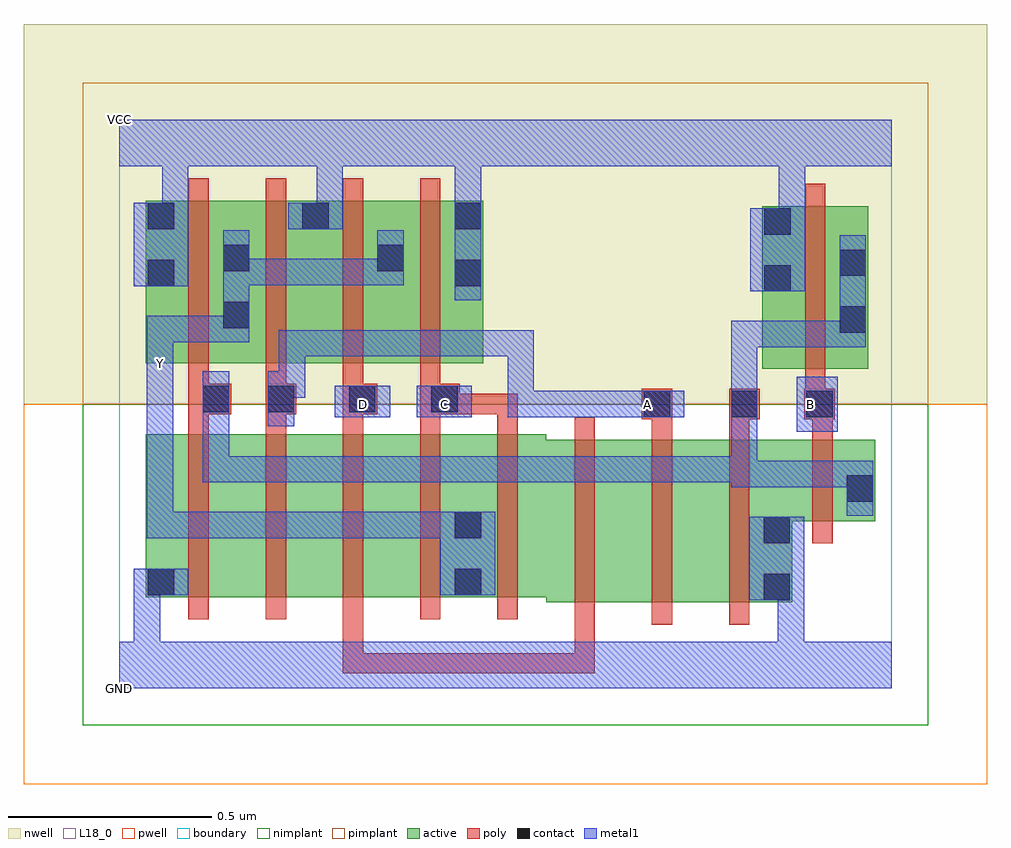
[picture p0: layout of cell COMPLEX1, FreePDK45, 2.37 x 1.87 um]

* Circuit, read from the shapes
.subckt COMPLEX1 A B C D GND VCC Y
M1 n1 n2 GND VSUBS nfet w=0.4u l=0.05u
M2 n3 A n1 VSUBS nfet w=0.4u l=0.05u
M3 n4 D n3 VSUBS nfet w=0.4u l=0.05u
M4 Y C n4 VSUBS nfet w=0.4u l=0.05u
M5 n5 C Y VSUBS nfet w=0.4u l=0.05u
M6 n6 D n5 VSUBS nfet w=0.4u l=0.05u
M7 n7 A n6 VSUBS nfet w=0.4u l=0.05u
M8 GND n2 n7 VSUBS nfet w=0.4u l=0.05u
M9 n2 B GND VSUBS nfet w=0.2u l=0.05u
M10 Y n2 VCC n8 pfet w=0.4u l=0.05u
M11 VCC A Y n8 pfet w=0.4u l=0.05u
M12 Y D VCC n8 pfet w=0.4u l=0.05u
M13 VCC C Y n8 pfet w=0.4u l=0.05u
M14 n2 B VCC n8 pfet w=0.4u l=0.05u
.ends

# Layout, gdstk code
import gdstk
lib = gdstk.Library(unit=1e-6, precision=1e-09)
def R(c, l, rs):  # rectangles x0, y0, x1, y1
    for r in rs: c.add(gdstk.rectangle(r[:2], r[2:], *l))
def A(c, l, x, y, w, h, nx, ny, dx, dy):  # array of equal rectangles
    R(c, l, [(x+i*dx, y+j*dy, x+i*dx+w, y+j*dy+h) for i in range(nx) for j in range(ny)])
active = (1, 0)
pwell = (2, 0)
nwell = (3, 0)
nimplant = (4, 0)
pimplant = (5, 0)
poly = (9, 0)
contact = (10, 0)
metal1 = (11, 0)
L18_0 = (18, 0)
boundary = (235, 0)

complex1 = lib.new_cell('COMPLEX1')
R(complex1, active, [(1.05,0.212,1.24,0.612), (1.24,0.212,1.43,0.612), (1.43,0.212,1.655,0.612), (1.58,0.212,1.655,0.597), (0.065,0.225,0.29,0.625), (0.065,0.225,0.14,0.625), (0.29,0.225,0.48,0.625), (0.48,0.225,0.67,0.625), (0.67,0.225,0.895,0.625), (0.82,0.225,1.05,0.625), (0.82,0.225,0.895,0.617), (1.58,0.412,1.86,0.612), (1.785,0.445,1.86,0.612), (1.582,0.787,1.657,1.187), (1.582,0.787,1.842,1.187), (1.767,0.787,1.842,1.155), (0.065,0.8,0.14,1.2), (0.065,0.8,0.325,1.2), (0.25,0.8,0.52,1.2), (0.25,0.8,0.325,1.155), (0.445,0.8,0.705,1.2), (0.63,0.8,0.895,1.2), (0.82,0.8,0.895,1.2), (0.445,0.907,0.52,1.2), (0.63,0.907,0.705,1.192)])
R(complex1, pwell, [(-0.235,-0.235,2.135,0.7)])
R(complex1, nwell, [(-0.235,0.7,2.135,1.635)])
R(complex1, nimplant, [(-0.09,-0.09,1.99,0.7)])
R(complex1, pimplant, [(-0.09,0.7,1.99,1.49)])
A(complex1, poly, 1.12, 0.157, 0.05, 0.51, 3, 1, 0.19, 0)
A(complex1, poly, 0.17, 0.17, 0.05, 0.51, 5, 1, 0.19, 0)
A(complex1, poly, 0.17, 0.63, 0.05, 0.095, 5, 1, 0.19, 0)
A(complex1, poly, 0.17, 0.7, 0.05, 0.095, 4, 1, 0.19, 0)
A(complex1, poly, 0.17, 0.745, 0.05, 0.51, 4, 1, 0.19, 0)
R(complex1, poly, [(0.55,0.037,0.6,0.087), (0.55,0.037,0.6,0.087), (0.55,0.037,0.6,0.087), (0.55,0.037,0.837,0.087), (0.55,0.037,0.6,0.22), (0.787,0.037,0.837,0.087), (0.787,0.037,0.97,0.087), (0.92,0.037,0.97,0.087), (0.92,0.037,0.97,0.087), (0.92,0.037,0.97,0.087), (0.92,0.037,1.17,0.087), (1.12,0.037,1.17,0.207), (1.12,0.037,1.17,0.087), (1.12,0.037,1.17,0.087), (1.12,0.037,1.17,0.087), (1.705,0.357,1.755,0.667), (1.31,0.617,1.36,0.712), (1.5,0.617,1.55,0.712), (1.705,0.617,1.755,0.712), (1.285,0.662,1.36,0.737), (1.5,0.662,1.575,0.737), (1.685,0.662,1.76,0.737), (0.17,0.675,0.275,0.75), (0.36,0.675,0.435,0.75), (0.55,0.675,0.635,0.75), (0.74,0.675,0.837,0.75), (0.787,0.675,0.837,0.725), (0.787,0.675,0.837,0.725), (0.787,0.675,0.98,0.725), (0.93,0.675,0.98,0.725), (1.687,0.687,1.737,0.782), (1.687,0.732,1.737,1.242)])
R(complex1, contact, [(1.585,0.217,1.65,0.282), (0.07,0.23,0.135,0.295), (0.825,0.23,0.89,0.295), (1.585,0.357,1.65,0.422), (0.825,0.37,0.89,0.435), (1.79,0.46,1.855,0.525), (1.29,0.667,1.355,0.732), (1.505,0.667,1.57,0.732), (1.69,0.667,1.755,0.732), (0.205,0.68,0.27,0.745), (0.365,0.68,0.43,0.745), (0.565,0.68,0.63,0.745), (0.767,0.68,0.832,0.745), (1.772,0.875,1.837,0.94), (0.255,0.887,0.32,0.952), (1.587,0.977,1.652,1.042), (0.07,0.99,0.135,1.055), (0.825,0.99,0.89,1.055), (1.772,1.015,1.837,1.08), (0.255,1.027,0.32,1.092), (0.635,1.027,0.7,1.092), (1.587,1.117,1.652,1.182), (0.07,1.13,0.135,1.195), (0.45,1.13,0.515,1.195), (0.825,1.13,0.89,1.195)])
A(complex1, metal1, 0.817, 0.507, 0.203, 0.065, 3, 1, 0.275, 0)
R(complex1, metal1, [(0,0,1.9,0.115), (0.035,0.05,0.1,0.115), (0.035,0.05,0.1,0.115), (0.035,0.05,0.1,0.295), (1.62,0.05,1.685,0.282), (1.55,0.217,1.685,0.422), (1.62,0.217,1.685,0.282), (1.62,0.217,1.685,0.282), (0.035,0.23,0.17,0.295), (0.79,0.23,0.925,0.435), (0.067,0.37,0.132,0.435), (0.067,0.37,0.132,0.435), (0.067,0.37,0.132,0.435), (0.067,0.37,0.27,0.435), (0.067,0.37,0.132,0.797), (0.205,0.37,0.27,0.435), (0.205,0.37,0.457,0.435), (0.392,0.37,0.457,0.435), (0.392,0.37,0.457,0.435), (0.392,0.37,0.457,0.435), (0.392,0.37,0.607,0.435), (0.542,0.37,0.607,0.435), (0.542,0.37,0.607,0.435), (0.542,0.37,0.607,0.435), (0.542,0.37,0.855,0.435), (0.79,0.37,0.855,0.435), (0.79,0.37,0.855,0.435), (1.79,0.425,1.855,0.56), (1.505,0.495,1.855,0.56), (1.505,0.495,1.57,0.572), (1.79,0.495,1.855,0.56), (1.79,0.495,1.855,0.56), (0.205,0.507,0.27,0.572), (0.205,0.507,0.27,0.71), (0.205,0.507,0.457,0.572), (0.392,0.507,0.457,0.572), (0.392,0.507,0.457,0.572), (0.392,0.507,0.457,0.572), (0.392,0.507,0.66,0.572), (0.595,0.507,0.66,0.572), (0.595,0.507,0.66,0.572), (0.595,0.507,0.66,0.572), (0.595,0.507,0.882,0.572), (0.817,0.507,0.882,0.572), (0.817,0.507,0.882,0.572), (0.817,0.507,0.882,0.572), (0.955,0.507,1.02,0.572), (0.955,0.507,1.157,0.572), (1.092,0.507,1.157,0.572), (1.092,0.507,1.157,0.572), (1.092,0.507,1.157,0.572), (1.23,0.507,1.295,0.572), (1.23,0.507,1.295,0.572), (1.23,0.507,1.295,0.572), (1.23,0.507,1.432,0.572), (1.367,0.507,1.432,0.572), (1.505,0.507,1.57,0.572), (1.505,0.507,1.57,0.572), (1.505,0.507,1.57,0.767), (1.505,0.632,1.57,0.767), (1.667,0.632,1.767,0.767), (0.205,0.645,0.27,0.71), (0.205,0.645,0.27,0.71), (0.205,0.645,0.27,0.78), (0.365,0.645,0.43,0.78), (0.53,0.667,0.667,0.745), (0.732,0.667,0.867,0.745), (0.955,0.667,1.02,0.732), (0.955,0.667,1.02,0.732), (0.955,0.667,1.02,0.732), (0.955,0.667,1.157,0.732), (0.955,0.667,1.02,0.882), (1.092,0.667,1.157,0.732), (1.092,0.667,1.157,0.732), (1.092,0.667,1.157,0.732), (1.092,0.667,1.295,0.732), (1.23,0.667,1.295,0.732), (1.23,0.667,1.297,0.732), (1.232,0.667,1.39,0.732), (1.505,0.702,1.57,0.767), (1.505,0.702,1.57,0.767), (1.505,0.702,1.57,0.905), (0.365,0.715,0.457,0.78), (0.392,0.715,0.457,0.78), (0.392,0.715,0.457,0.882), (0.067,0.732,0.132,0.797), (0.067,0.732,0.132,0.797), (0.067,0.732,0.132,0.867), (0.067,0.802,0.132,0.917), (0.392,0.817,0.457,0.882), (0.392,0.817,0.66,0.882), (0.595,0.817,0.66,0.882), (0.595,0.817,0.66,0.882), (0.595,0.817,0.66,0.882), (0.595,0.817,0.797,0.882), (0.732,0.817,0.797,0.882), (0.732,0.817,1.02,0.882), (0.955,0.817,1.02,0.882), (1.505,0.84,1.57,0.905), (1.505,0.84,1.837,0.905), (1.772,0.84,1.837,0.905), (1.772,0.84,1.837,0.905), (1.772,0.84,1.837,1.115), (0.067,0.852,0.132,0.917), (0.067,0.852,0.132,0.917), (0.067,0.852,0.132,0.917), (0.067,0.852,0.32,0.917), (0.255,0.852,0.32,1.127), (0.825,0.955,0.89,1.23), (1.552,0.977,1.687,1.182), (0.035,0.99,0.17,1.195), (0.255,0.992,0.32,1.057), (0.255,0.992,0.32,1.127), (0.255,0.992,0.457,1.057), (0.392,0.992,0.457,1.057), (0.392,0.992,0.457,1.057), (0.392,0.992,0.457,1.057), (0.392,0.992,0.66,1.057), (0.595,0.992,0.66,1.057), (0.595,0.992,0.7,1.057), (0.635,0.992,0.7,1.127), (1.622,1.117,1.687,1.35), (0.105,1.13,0.17,1.35), (0.415,1.13,0.55,1.195), (0.485,1.13,0.55,1.35), (0.825,1.165,0.89,1.35), (0,1.285,1.9,1.4)])
R(complex1, L18_0, [(0,0,1.9,0.115), (0.035,0.05,0.1,0.115), (0.035,0.05,0.1,0.115), (0.035,0.05,0.1,0.295), (1.62,0.05,1.685,0.282), (1.55,0.217,1.685,0.422), (1.62,0.217,1.685,0.282), (1.62,0.217,1.685,0.282), (0.035,0.23,0.17,0.295), (0.79,0.23,0.925,0.435), (0.067,0.37,0.132,0.435), (0.067,0.37,0.132,0.435), (0.067,0.37,0.132,0.435), (0.067,0.37,0.132,0.797), (0.067,0.37,0.27,0.435), (0.205,0.37,0.27,0.435), (0.205,0.37,0.457,0.435), (0.392,0.37,0.457,0.435), (0.392,0.37,0.457,0.435), (0.392,0.37,0.457,0.435), (0.392,0.37,0.607,0.435), (0.542,0.37,0.607,0.435), (0.542,0.37,0.607,0.435), (0.542,0.37,0.607,0.435), (0.542,0.37,0.855,0.435), (0.79,0.37,0.855,0.435), (0.79,0.37,0.855,0.435), (1.667,0.632,1.767,0.767), (0.365,0.645,0.43,0.78), (0.53,0.667,0.667,0.745), (0.567,0.667,0.632,0.732), (0.732,0.667,0.867,0.745), (0.767,0.667,0.832,0.732), (0.955,0.667,1.02,0.732), (0.955,0.667,1.02,0.732), (0.955,0.667,1.02,0.732), (0.955,0.667,1.157,0.732), (0.955,0.667,1.02,0.882), (1.092,0.667,1.157,0.732), (1.092,0.667,1.157,0.732), (1.092,0.667,1.157,0.732), (1.092,0.667,1.295,0.732), (1.23,0.667,1.295,0.732), (1.23,0.667,1.297,0.732), (1.232,0.667,1.39,0.732), (1.267,0.667,1.332,0.732), (1.667,0.667,1.732,0.732), (0.365,0.715,0.457,0.78), (0.392,0.715,0.457,0.78), (0.392,0.715,0.457,0.882), (0.067,0.732,0.132,0.797), (0.067,0.732,0.132,0.797), (0.067,0.732,0.132,0.867), (0.067,0.767,0.132,0.832), (0.067,0.802,0.132,0.917), (0.392,0.817,0.457,0.882), (0.392,0.817,0.66,0.882), (0.595,0.817,0.66,0.882), (0.595,0.817,0.66,0.882), (0.595,0.817,0.66,0.882), (0.595,0.817,0.797,0.882), (0.732,0.817,0.797,0.882), (0.732,0.817,1.02,0.882), (0.955,0.817,1.02,0.882), (0.067,0.852,0.132,0.917), (0.067,0.852,0.132,0.917), (0.067,0.852,0.132,0.917), (0.067,0.852,0.32,0.917), (0.255,0.852,0.32,1.127), (0.825,0.955,0.89,1.23), (1.552,0.977,1.687,1.182), (0.035,0.99,0.17,1.195), (0.255,0.992,0.32,1.057), (0.255,0.992,0.32,1.127), (0.255,0.992,0.457,1.057), (0.392,0.992,0.457,1.057), (0.392,0.992,0.457,1.057), (0.392,0.992,0.457,1.057), (0.392,0.992,0.66,1.057), (0.595,0.992,0.66,1.057), (0.595,0.992,0.7,1.057), (0.635,0.992,0.7,1.127), (1.622,1.117,1.687,1.35), (0.105,1.13,0.17,1.35), (0.415,1.13,0.55,1.195), (0.485,1.13,0.55,1.35), (0.825,1.165,0.89,1.35), (0,1.285,1.9,1.4)])
R(complex1, boundary, [(0,0,1.9,1.4)])
complex1.add(gdstk.Label('A', (1.3,0.7), layer=11, texttype=0))
complex1.add(gdstk.Label('B', (1.7,0.7), layer=11, texttype=0))
complex1.add(gdstk.Label('C', (0.8,0.7), layer=11, texttype=0))
complex1.add(gdstk.Label('D', (0.6,0.7), layer=11, texttype=0))
complex1.add(gdstk.Label('Y', (0.1,0.8), layer=11, texttype=0))
complex1.add(gdstk.Label('VCC', (0,1.4), layer=11, texttype=0))
complex1.add(gdstk.Label('GND', (0,0), layer=11, texttype=0))

lib.write_gds('COMPLEX1.gds')
